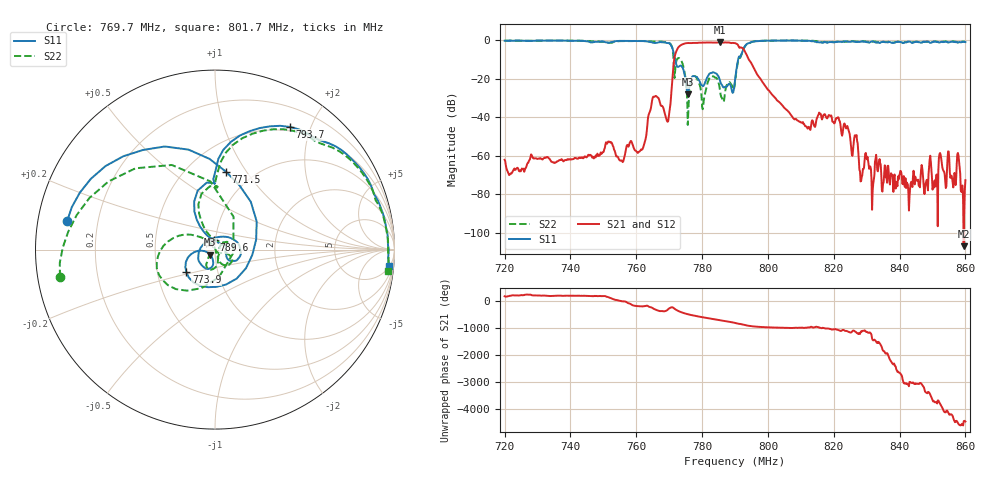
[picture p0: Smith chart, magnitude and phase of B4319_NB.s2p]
! Matrix data file written by TouchstoneData, EPCOS AG
! FILENAME: "B4319_x34y35_NB.snp"
! COMMENT: "(TS/B4319_x34y35_NB.s2p) Epcos AG 12/18/2012"
! INFO: nport=2, nfreq=801
! DATE: "Wed Jan 16 16:31:57 2013"
! USER: "Wee Chuan Tay"
! port | pin | signal
!  1  |  1  |  Input
!  2  |  4  |  Output
# MHZ S RI R 50
! freq  reS11 imS11  reS21 imS21  reS12 imS12  reS22 imS22
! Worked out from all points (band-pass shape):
!   801 points, 720 MHz to 860 MHz, reference 50 ohm
!   highest |S21| = -1.16 dB at 785.5 MHz (marker M1); lowest = -106.9 dB at 859.5 MHz (marker M2)
!   |S21| within 3 dB of the highest: 772.6 MHz to 792.3 MHz (19.69 MHz wide, 2.52 % of centre)
!   lowest |S11| = -28.2 dB at 775.6 MHz (marker M3), VSWR 1.08, Z = 47.3 - j2.68 ohm
!   |S11| at or under -10 dB: 771.9 MHz to 791 MHz (19.11 MHz wide, 2.45 % of centre)
!   |S22| runs from -44.0 to -0.2 dB; largest |S21 - S12| = 0
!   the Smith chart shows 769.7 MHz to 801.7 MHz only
!   S11 on the Smith chart (normalised r, x): 769.7 MHz: 0.09, +0.09; 771.5 MHz: 0.75, +0.81; 773.9 MHz: 0.70, -0.19; 789.6 MHz: 0.98, +0.10; 793.7 MHz: 0.45, +1.70; 801.7 MHz: 6, -20
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720  0.2858 -0.9191  -0.000762 0.000198  -0.000762 0.000198  0.3329 -0.9064
743.45  0.0405 -0.9595  -0.000901 -4.3e-05  -0.000901 -4.3e-05  0.114 -0.9528
761.125  -0.4009 -0.8588  -0.00118 0.000582  -0.00118 0.000582  -0.252 -0.9157
766.725  -0.6873 -0.5215  0.0313 -0.0046  0.0313 -0.0046  -0.5988 -0.6954
769.7  -0.8245 0.1567  0.00549 0.00574  0.00549 0.00574  -0.8643 -0.1524
771.45  0.0604 0.4347  0.0471 0.2795  0.0471 0.2795  0.1032 0.1835
773.9  -0.1596 -0.1264  0.1788 -0.7464  0.1788 -0.7464  -0.2619 0.0451
775.65  -0.0268 -0.0283  -0.6513 -0.5301  -0.6513 -0.5301  -6.49e-05 0.0063
780.55  0.00513 0.0672  -0.1347 0.8505  -0.1347 0.8505  0.0228 -0.0176
785.45  0.0703 -0.0529  0.8746 -0.0058  0.8746 -0.0058  0.0173 -0.0455
789.65  -0.00579 0.0517  -0.0352 -0.8412  -0.0352 -0.8412  0.011 0.0506
790  -0.0436 0.0786  -0.1747 -0.8158  -0.1747 -0.8158  -0.0271 0.0761
793.675  0.4184 0.6832  -0.3608 0.1451  -0.3608 0.1451  0.437 0.6615
801.725  0.9683 -0.09  0.00208 0.035  0.00208 0.035  0.9649 -0.1169
813.45  0.7848 -0.5122  -0.00154 0.0082  -0.00154 0.0082  0.8073 -0.5222
821.325  0.7352 -0.5268  0.00996 -0.00086  0.00996 -0.00086  0.7273 -0.5469
828.5  0.6975 -0.6032  0.000127 -0.000254  0.000127 -0.000254  0.7108 -0.6027
836.725  0.6478 -0.611  7.34e-05 0.000353  7.34e-05 0.000353  0.654 -0.6372
850.9  0.6166 -0.6803  -0.00015 -5.49e-05  -0.00015 -5.49e-05  0.6211 -0.6756
852.65  0.6173 -0.6548  0.000294 0.0008  0.000294 0.0008  0.6252 -0.6541
859.475  0.5958 -0.6798  -3.93e-06 -2.24e-06  -3.93e-06 -2.24e-06  0.5906 -0.7011
860  0.5672 -0.6859  -0.000216 -8.65e-05  -0.000216 -8.65e-05  0.5679 -0.6851
